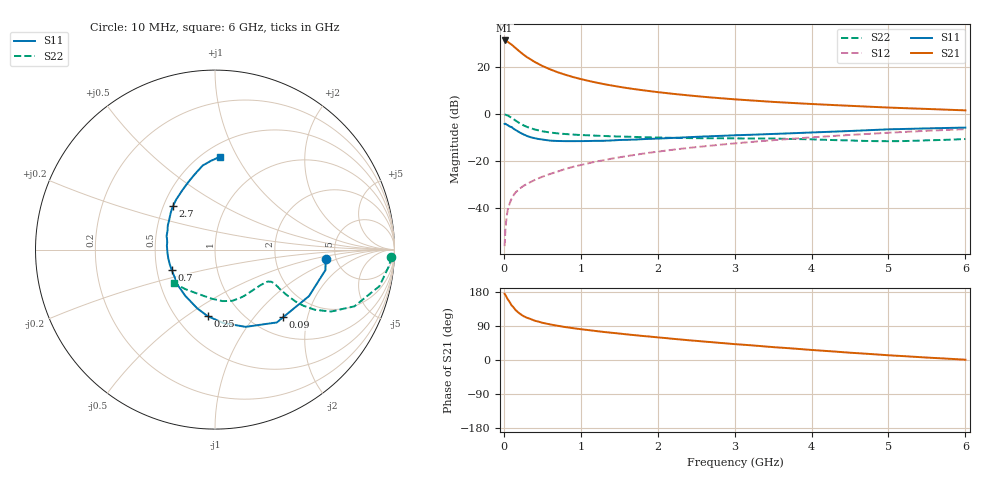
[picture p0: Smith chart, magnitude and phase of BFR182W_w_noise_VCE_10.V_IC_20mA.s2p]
! Infineon Technologies  Discrete & RF Semiconductors
! BFR182W
! VCE =  10. V,  IC =  20 mA
! Common Emitter S-Parameters:  Jan 2017
# GHz  S  MA  R  50
!  f  S11  S21  S12  S22
! GHz  MAG  ANG  MAG  ANG  MAG  ANG  MAG  ANG
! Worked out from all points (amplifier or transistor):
!   77 points, 10 MHz to 6 GHz, reference 50 ohm
!   highest |S21| = 31.5 dB at 10 MHz (marker M1)
!   |S21| within 3 dB of that: start of sweep to 144.3 MHz
!   unconditionally stable (mu >= 1): 879.9 MHz to 2.412 GHz
!   at 130 MHz: K = 0.41, MSG = 31.7 dB, |S12| = -34.5 dB
!   at 2.2 GHz: K = 1.01, MAG = 11.3 dB, |S12| = -15.2 dB
!   at 6 GHz: K = 0.86, MSG = 4.0 dB, |S12| = -6.4 dB
!   lowest NFmin = 1.41 dB at 450 MHz
!   S11 on the Smith chart (normalised r, x): 10 MHz: 4.11, -0.72; 90 MHz: 1.36, -1.43; 250 MHz: 0.70, -0.61; 700 MHz: 0.60, -0.15; 2.7 GHz: 0.56, +0.31; 6 GHz: 0.60, +0.85
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0.01  0.6187 -5.0  37.72 174.7  0.0015 77.4  0.9838 -2.3
0.02  0.6258 -10.5  37.49 171.4  0.0033 88.8  0.9748 -5.2
0.05  0.5844 -26.3  35.47 160.4  0.0089 78.8  0.9381 -12.6
0.09  0.535 -44.7  31.64 148.0  0.0142 73.3  0.8569 -20.0
0.1  0.5322 -49.7  30.95 144.5  0.0155 72.5  0.8391 -22.1
0.15  0.4629 -68.4  26.23 132.3  0.021 67.2  0.7328 -28.1
0.2  0.4115 -83.6  22.23 123.4  0.025 65.8  0.6489 -31.1
0.25  0.3727 -96.4  19.11 116.4  0.0289 65.1  0.5838 -32.4
0.3  0.3417 -106.9  16.59 111.4  0.0321 64.5  0.5339 -32.8
0.4  0.306 -122.9  13.1 103.8  0.039 66.3  0.4705 -32.3
0.5  0.2868 -136.1  10.74 98.3  0.0458 67.4  0.4305 -31.5
0.6  0.2716 -146.6  9.112 94.0  0.0525 68.0  0.4052 -30.6
0.7  0.2667 -155.0  7.883 90.3  0.0592 69.8  0.388 -30.0
0.9  0.2648 -169.2  6.218 84.0  0.0747 70.2  0.3661 -29.7
1.1  0.2663 -179.9  5.154 78.9  0.089 70.7  0.353 -30.4
1.5  0.2801 164.4  3.847 69.8  0.1193 69.6  0.3323 -33.8
2.1  0.305 146.7  2.839 57.9  0.1656 66.9  0.3136 -43.3
2.7  0.3374 133.7  2.274 47.1  0.2128 63.0  0.3052 -55.5
3.1  0.3574 125.8  2.025 40.5  0.2447 60.1  0.3025 -63.6
4.1  0.4113 109.9  1.62 25.1  0.3268 51.8  0.2858 -84.0
5.1  0.4777 97.1  1.365 11.3  0.4083 42.5  0.2644 -113.6
6  0.5165 87.2  1.206 0.8  0.4788 33.5  0.2939 -140.9
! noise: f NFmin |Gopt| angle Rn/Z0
0.45  1.41  0.11  -176  0.15
0.9  1.49  0.11  -171  0.15
1.9  2  0.28  -142  0.16
2.4  2.26  0.29  -128  0.26
